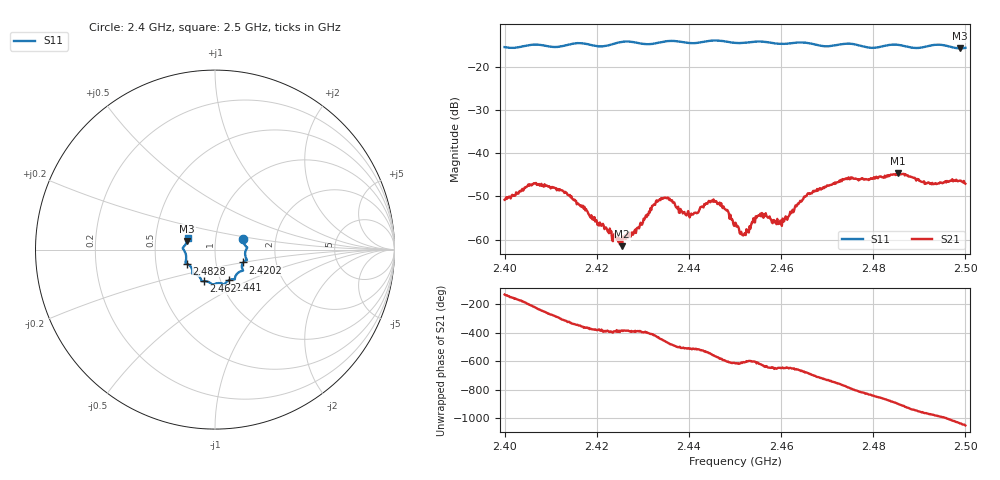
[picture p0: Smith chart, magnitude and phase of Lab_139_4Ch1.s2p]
# Hz S RI R 50
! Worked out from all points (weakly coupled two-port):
!   601 points, 2.4 GHz to 2.5 GHz, reference 50 ohm
!   highest |S21| = -44.64 dB at 2.4853 GHz (marker M1); lowest = -61.5 dB at 2.4255 GHz (marker M2)
!   lowest |S11| = -15.8 dB at 2.4988 GHz (marker M3), VSWR 1.39, Z = 36.4 + j3.43 ohm
!   |S11| at or under -10 dB: start of sweep to end of sweep
!   S12 and S22 are empty: the file has one direction only
!   S11 on the Smith chart (normalised r, x): 2.4 GHz: 1.36, +0.17; 2.4202 GHz: 1.35, -0.20; 2.441 GHz: 1.10, -0.39; 2.462 GHz: 0.83, -0.30; 2.4828 GHz: 0.72, -0.12; 2.5 GHz: 0.73, +0.09
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2.4e9  0.157 0.0608  -0.00192 -0.00216  0 0  0 0
2.406667e9  0.1796 0.0113  -0.00334 0.00304  0 0  0 0
2.412833e9  0.17 -0.039  0.00239 0.00269  0 0  0 0
2.416667e9  0.1774 -0.0591  0.00248 0.000155  0 0  0 0
2.420167e9  0.1568 -0.0717  0.00138 -0.000548  0 0  0 0
2.4255e9  0.1561 -0.115  0.00076 -0.000364  0 0  0 0
2.433333e9  0.1125 -0.152  0.000913 -0.00267  0 0  0 0
2.441e9  0.0774 -0.1703  -0.00176 -0.000943  0 0  0 0
2.4455e9  0.0523 -0.194  -0.00253 0.00105  0 0  0 0
2.45e9  0.027 -0.1866  -0.000422 0.00151  0 0  0 0
2.451833e9  0.00886 -0.1881  -0.000454 0.00103  0 0  0 0
2.4555e9  -0.0129 -0.1951  -0.000311 0.00197  0 0  0 0
2.459667e9  -0.0393 -0.1795  0.000441 0.00147  0 0  0 0
2.462e9  -0.0613 -0.176  0.000599 0.00202  0 0  0 0
2.466667e9  -0.0773 -0.1674  0.00313 0.00139  0 0  0 0
2.474167e9  -0.1252 -0.1354  0.00263 -0.00441  0 0  0 0
2.482833e9  -0.1578 -0.0778  -0.00465 -0.00275  0 0  0 0
2.483333e9  -0.1608 -0.0766  -0.0051 -0.00229  0 0  0 0
2.485333e9  -0.1645 -0.0711  -0.00586 -2.05e-05  0 0  0 0
2.492833e9  -0.1773 0.00291  -0.00109 0.00441  0 0  0 0
2.498833e9  -0.1562 0.0459  0.00356 0.00323  0 0  0 0
2.5e9  -0.1532 0.0619  0.00392 0.0021  0 0  0 0
